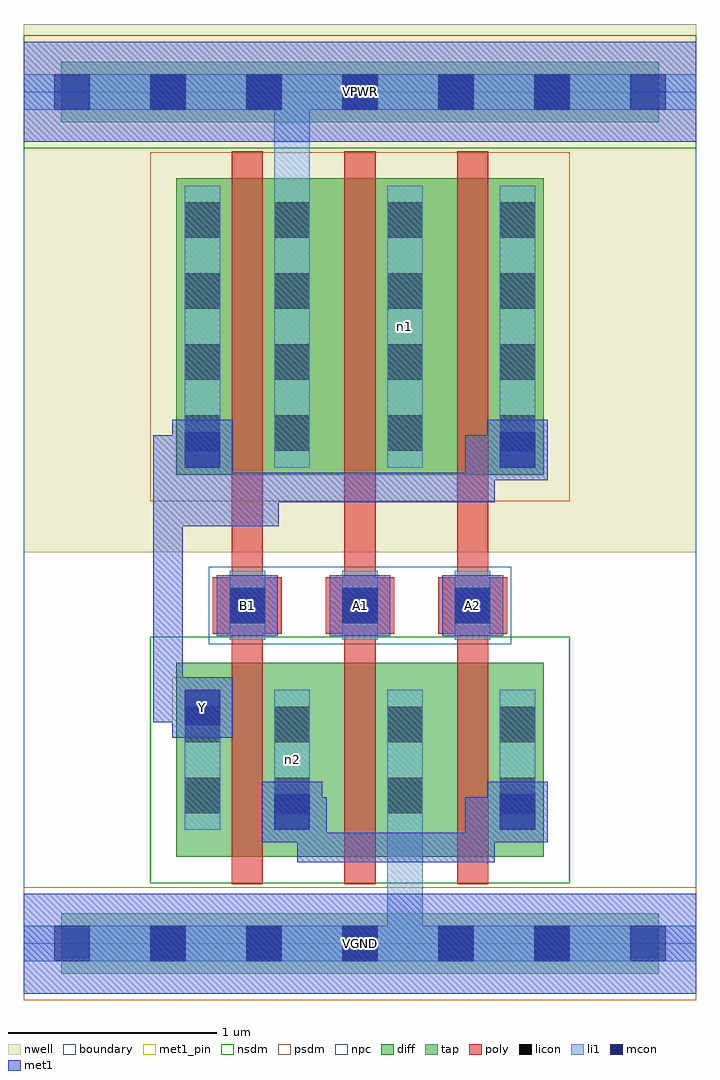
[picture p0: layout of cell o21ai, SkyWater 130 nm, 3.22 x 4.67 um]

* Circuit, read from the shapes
.subckt o21ai A1 A2 B1 VGND VPWR Y n1 n2
XM1 n2 B1 Y VGND sky130_fd_pr__nfet_01v8 w=0.93 l=0.15
XM2 VGND A1 n2 VGND sky130_fd_pr__nfet_01v8 w=0.93 l=0.15
XM3 n2 A2 VGND VGND sky130_fd_pr__nfet_01v8 w=0.93 l=0.15
XM4 VPWR B1 Y VPWR sky130_fd_pr__pfet_01v8 w=1.42 l=0.15
XM5 n1 A1 VPWR VPWR sky130_fd_pr__pfet_01v8 w=1.42 l=0.15
XM6 Y A2 n1 VPWR sky130_fd_pr__pfet_01v8 w=1.42 l=0.15
.ends

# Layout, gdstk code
import gdstk
lib = gdstk.Library(unit=1e-6, precision=1e-09)
def R(c, l, rs):  # rectangles x0, y0, x1, y1
    for r in rs: c.add(gdstk.rectangle(r[:2], r[2:], *l))
def A(c, l, x, y, w, h, nx, ny, dx, dy):  # array of equal rectangles
    R(c, l, [(x+i*dx, y+j*dy, x+i*dx+w, y+j*dy+h) for i in range(nx) for j in range(ny)])
nwell = (64, 20)
diff = (65, 20)
tap = (65, 44)
poly = (66, 20)
licon = (66, 44)
li1 = (67, 20)
mcon = (67, 44)
met1_pin = (68, 16)
met1 = (68, 20)
nsdm = (93, 44)
psdm = (94, 20)
npc = (95, 20)
boundary = (235, 4)

o21ai = lib.new_cell('o21ai')
R(o21ai, nwell, [(0,1.875,3.22,4.405)])
R(o21ai, diff, [(0.73,0.415,2.49,1.345), (0.73,2.245,2.49,3.665)])
R(o21ai, tap, [(0.18,-0.145,3.04,0.145), (0.18,3.935,3.04,4.225)])
A(o21ai, poly, 0.995, 0.285, 0.15, 3.51, 3, 1, 0.54, 0)
A(o21ai, poly, 0.905, 1.485, 0.33, 0.27, 3, 1, 0.54, 0)
A(o21ai, licon, 0.605, -0.085, 0.17, 0.17, 5, 2, 0.46, 4.08)
A(o21ai, licon, 1.2, 0.625, 0.17, 0.17, 3, 2, 0.54, 0.34)
A(o21ai, licon, 0.985, 1.535, 0.17, 0.17, 3, 1, 0.54, 0)
A(o21ai, licon, 0.77, 2.36, 0.17, 0.17, 1, 4, 0, 0.34)
A(o21ai, licon, 1.2, 2.36, 0.17, 0.17, 3, 4, 0.54, 0.34)
R(o21ai, licon, [(0.77,0.625,0.94,0.795), (0.77,0.965,0.94,1.135)])
A(o21ai, li1, 1.2, 0.545, 0.17, 0.67, 3, 1, 0.54, 0)
A(o21ai, li1, 0.985, 1.455, 0.17, 0.33, 3, 1, 0.54, 0)
A(o21ai, li1, 1.2, 2.28, 0.17, 1.35, 3, 1, 0.54, 0)
R(o21ai, li1, [(0,-0.085,3.22,0.085), (1.74,-0.085,1.91,1.215), (0.77,0.545,0.94,1.215), (0.77,2.28,0.94,3.63), (1.2,2.28,1.37,4.165), (0,3.995,3.22,4.165)])
A(o21ai, mcon, 0.145, -0.085, 0.17, 0.17, 7, 2, 0.46, 4.08)
A(o21ai, mcon, 0.985, 1.535, 0.17, 0.17, 3, 1, 0.54, 0)
R(o21ai, mcon, [(1.2,0.545,1.37,0.715), (2.28,0.545,2.45,0.715), (0.77,1.045,0.94,1.215), (0.77,2.28,0.94,2.45), (2.28,2.28,2.45,2.45)])
A(o21ai, met1_pin, 0.925, 1.475, 0.29, 0.29, 3, 1, 0.54, 0)
R(o21ai, met1_pin, [(0,-0.24,3.22,0.24), (0.71,0.985,1,1.275), (0,3.84,3.22,4.32)])
A(o21ai, met1, 0.925, 1.475, 0.29, 0.29, 3, 1, 0.54, 0)
R(o21ai, met1, [(0,-0.24,3.22,0.24), (1.31,0.39,1.45,0.7), (1.31,0.39,2.255,0.53), (2.115,0.39,2.255,0.7), (1.14,0.485,1.43,0.775), (2.22,0.485,2.51,0.775), (1.215,0.56,1.45,0.7), (2.115,0.56,2.435,0.7), (0.71,0.985,1,1.275), (0.62,1.06,0.925,1.2), (0.62,1.06,0.76,1.335), (0.62,1.195,0.76,2.255), (0.62,2,1.22,2.14), (1.08,2,1.22,2.255), (0.62,2.115,0.76,2.435), (1.08,2.115,2.255,2.255), (2.115,2.115,2.255,2.435), (0.71,2.14,1,2.22), (1,2.14,1.08,2.22), (0.71,2.22,1,2.51), (1,2.22,1.08,2.255), (2.22,2.22,2.51,2.51), (0.62,2.295,0.925,2.435), (2.115,2.295,2.435,2.435), (0,3.84,3.22,4.32)])
R(o21ai, nsdm, [(0.605,0.29,2.615,1.47), (0,3.81,3.22,4.35)])
R(o21ai, psdm, [(0,-0.27,3.22,0.27), (0.605,2.12,2.615,3.79)])
R(o21ai, npc, [(0.885,1.435,2.335,1.805)])
R(o21ai, boundary, [(0,0,3.22,4.08)])
o21ai.add(gdstk.Label('n1', (1.825,2.955), layer=67, texttype=5))
o21ai.add(gdstk.Label('n2', (1.285,0.88), layer=67, texttype=5))
o21ai.add(gdstk.Label('A1', (1.61,1.62), layer=68, texttype=5))
o21ai.add(gdstk.Label('A2', (2.15,1.62), layer=68, texttype=5))
o21ai.add(gdstk.Label('B1', (1.07,1.62), layer=68, texttype=5))
o21ai.add(gdstk.Label('Y', (0.855,1.13), layer=68, texttype=5))
o21ai.add(gdstk.Label('VPWR', (1.61,4.08), layer=68, texttype=5))
o21ai.add(gdstk.Label('VGND', (1.61,0), layer=68, texttype=5))
o21ai.add(gdstk.Label('A1', (1.61,1.62), layer=68, texttype=16))
o21ai.add(gdstk.Label('A2', (2.15,1.62), layer=68, texttype=16))
o21ai.add(gdstk.Label('B1', (1.07,1.62), layer=68, texttype=16))
o21ai.add(gdstk.Label('Y', (0.855,1.13), layer=68, texttype=16))
o21ai.add(gdstk.Label('VPWR', (1.61,4.08), layer=68, texttype=16))
o21ai.add(gdstk.Label('VGND', (1.61,0), layer=68, texttype=16))

lib.write_gds('o21ai.gds')
